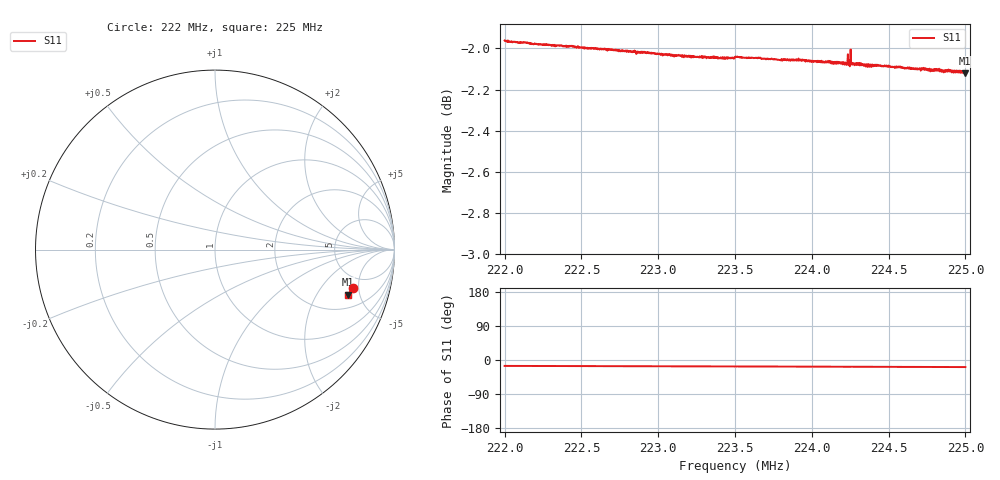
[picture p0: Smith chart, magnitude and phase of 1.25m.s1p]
! Calibrated averaged scanner-service zoom
# Hz S RI R 50
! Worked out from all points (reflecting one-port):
!   1001 points, 222 MHz to 225 MHz, reference 50 ohm
!   lowest |S11| = -2.1 dB at 225 MHz (marker M1), VSWR 8.23, Z = 150 - j194 ohm
!   phase of S11 starts at -16 deg and turns -3 deg over the sweep
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2.22e8  0.7685 -0.2144
2.22177e8  0.7664 -0.2162
2.22375e8  0.7649 -0.2187
2.2275e8  0.7613 -0.2231
2.23125e8  0.758 -0.2267
2.23398e8  0.756 -0.2295
2.235e8  0.7557 -0.2312
2.2365e8  0.7549 -0.233
2.23785e8  0.7536 -0.2346
2.23827e8  0.7535 -0.236
2.23875e8  0.753 -0.2362
2.24046e8  0.7517 -0.2378
2.24214e8  0.7496 -0.2402
2.24223e8  0.7504 -0.2404
2.24226e8  0.7493 -0.2406
2.24232e8  0.7502 -0.2413
2.24235e8  0.755 -0.2385
2.24238e8  0.7493 -0.2406
2.2425e8  0.7495 -0.2409
2.24256e8  0.7503 -0.2405
2.24259e8  0.7502 -0.2409
2.24268e8  0.7499 -0.2419
2.24274e8  0.7496 -0.2411
2.24307e8  0.7497 -0.2424
2.24349e8  0.7487 -0.2421
2.24625e8  0.7466 -0.2458
2.24997e8  0.7423 -0.2504
2.25e8  0.7427 -0.2511
